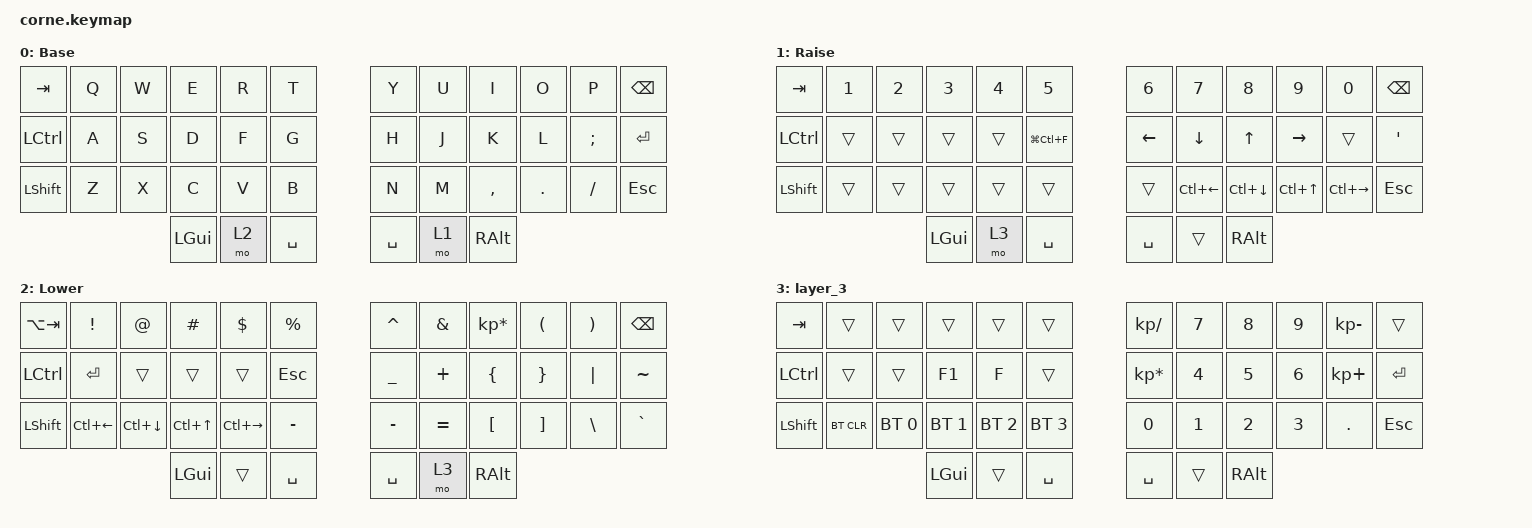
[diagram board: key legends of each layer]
/*
 * Copyright (c) 2020 The ZMK Contributors
 *
 * SPDX-License-Identifier: MIT
 */

#include <behaviors.dtsi>
#include <dt-bindings/zmk/bt.h>
#include <dt-bindings/zmk/keys.h>

/ {
    keymap {
        compatible = "zmk,keymap";

        default_layer {
            // -----------------------------------------------------------------------------------------
            // |  TAB |  Q  |  W  |  E  |  R  |  T  |   |  Y  |  U   |  I  |  O  |  P  | BKSP |
            // | CTRL |  A  |  S  |  D  |  F  |  G  |   |  H  |  J   |  K  |  L  |  ;  |  '   |
            // | SHFT |  Z  |  X  |  C  |  V  |  B  |   |  N  |  M   |  ,  |  .  |  /  | ESC  |
            //                    | GUI | LWR | SPC |   | ENT | RSE  | ALT |

            label = "Base";
            bindings = <
&kp TAB     &kp Q  &kp W  &kp E     &kp R  &kp T        &kp Y      &kp U  &kp I      &kp O    &kp P     &kp BSPC
&kp LCTRL   &kp A  &kp S  &kp D     &kp F  &kp G        &kp H      &kp J  &kp K      &kp L    &kp SEMI  &kp RET
&kp LSHIFT  &kp Z  &kp X  &kp C     &kp V  &kp B        &kp N      &kp M  &kp COMMA  &kp DOT  &kp FSLH  &kp ESC
                          &kp LGUI  &mo 2  &kp SPACE    &kp SPACE  &mo 1  &kp RALT
            >;
        };

        Raise_Layer {
            // -----------------------------------------------------------------------------------------
            // |  TAB |  1  |  2  |  3  |  4  |  5  |   |  6  |  7  |  8  |  9  |  0  | BKSP |
            // | BTCLR| BT1 | BT2 | BT3 | BT4 | BT5 |   | LFT | DWN |  UP | RGT |     |      |
            // | SHFT |     |     |     |     |     |   |     |     |     |     |     |      |
            //                    | GUI |     | SPC |   | ENT |     | ALT |

            label = "Raise";
            bindings = <
&kp TAB     &kp N1  &kp N2  &kp N3    &kp N4  &kp N5           &kp N6     &kp N7              &kp N8              &kp N9            &kp N0               &kp BSPC
&kp LCTRL   &trans  &trans  &trans    &trans  &kp LG(LC(F))    &kp LEFT   &kp DOWN            &kp UP              &kp RIGHT         &trans               &kp SQT
&kp LSHIFT  &trans  &trans  &trans    &trans  &trans           &trans     &kp LC(LEFT_ARROW)  &kp LC(DOWN_ARROW)  &kp LC(UP_ARROW)  &kp LC(RIGHT_ARROW)  &kp ESC
                            &kp LGUI  &mo 3   &kp SPACE        &kp SPACE  &trans              &kp RALT
            >;
        };

        Lower_Layer {
            // -----------------------------------------------------------------------------------------
            // |  TAB |  !  |  @  |  #  |  $  |  %  |   |  ^  |  &  |  *  |  (  |  )  | BKSP |
            // | CTRL |     |     |     |     |     |   |  -  |  =  |  [  |  ]  |  \  |  `   |
            // | SHFT |     |     |     |     |     |   |  _  |  +  |  {  |  }  | "|" |  ~   |
            //                    | GUI |     | SPC |   | ENT |     | ALT |

            label = "Lower";
            bindings = <
&kp LA(TAB)  &kp EXCL            &kp AT              &kp HASH          &kp DLLR             &kp PRCNT    &kp CARET  &kp AMPERSAND  &kp KP_MULTIPLY  &kp LEFT_PARENTHESIS  &kp RIGHT_PARENTHESIS  &kp BSPC
&kp LCTRL    &kp RET             &trans              &trans            &trans               &kp ESC      &kp UNDER  &kp PLUS       &kp LBRC         &kp RBRC              &kp PIPE               &kp TILDE
&kp LSHIFT   &kp LC(LEFT_ARROW)  &kp LC(DOWN_ARROW)  &kp LC(UP_ARROW)  &kp LC(RIGHT_ARROW)  &kp MINUS    &kp MINUS  &kp EQUAL      &kp LBKT         &kp RBKT              &kp BSLH               &kp GRAVE
                                                     &kp LGUI          &trans               &kp SPACE    &kp SPACE  &mo 3          &kp RALT
            >;
        };

        layer_3 {
            bindings = <
&kp TAB     &trans      &trans        &trans        &trans        &trans          &kp KP_DIVIDE    &kp N7  &kp N8    &kp N9  &kp KP_MINUS  &trans
&kp LCTRL   &trans      &trans        &kp F1        &kp F         &trans          &kp KP_MULTIPLY  &kp N4  &kp N5    &kp N6  &kp KP_PLUS   &kp RET
&kp LSHIFT  &bt BT_CLR  &bt BT_SEL 0  &bt BT_SEL 1  &bt BT_SEL 2  &bt BT_SEL 3    &kp N0           &kp N1  &kp N2    &kp N3  &kp PERIOD    &kp ESC
                                      &kp LEFT_GUI  &trans        &kp SPACE       &kp SPACE        &trans  &kp RALT
            >;
        };
    };
};
